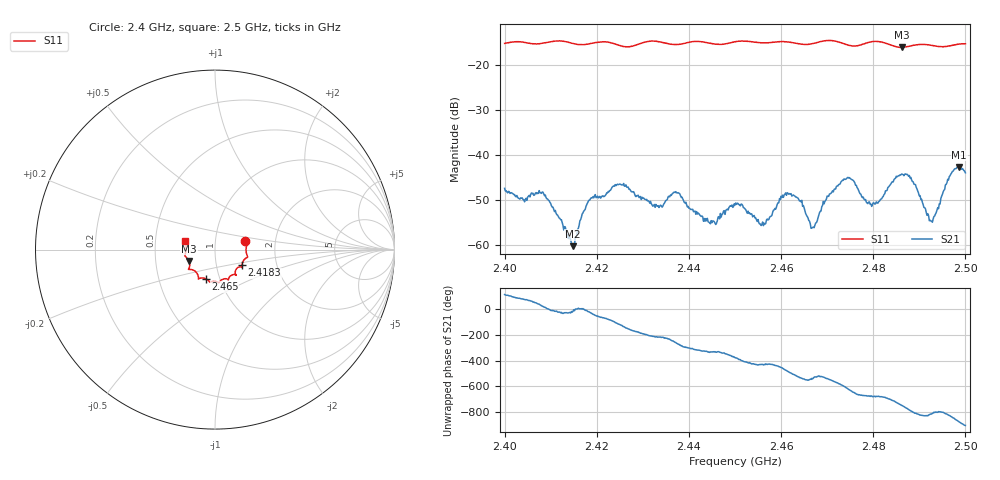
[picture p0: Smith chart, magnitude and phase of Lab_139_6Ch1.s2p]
# Hz S RI R 50
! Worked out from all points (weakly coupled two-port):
!   601 points, 2.4 GHz to 2.5 GHz, reference 50 ohm
!   highest |S21| = -42.63 dB at 2.4987 GHz (marker M1); lowest = -60.3 dB at 2.4148 GHz (marker M2)
!   lowest |S11| = -16.0 dB at 2.4862 GHz (marker M3), VSWR 1.38, Z = 37.1 - j4.82 ohm
!   |S11| at or under -10 dB: start of sweep to end of sweep
!   S12 and S22 are empty: the file has one direction only
!   S11 on the Smith chart (normalised r, x): 2.4 GHz: 1.40, +0.13; 2.4183 GHz: 1.33, -0.24; 2.465 GHz: 0.86, -0.29; 2.5 GHz: 0.71, +0.07
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2.4e9  0.1692 0.0456  -0.00165 0.00393  0 0  0 0
2.408333e9  0.175 -0.0197  0.00363 0.00134  0 0  0 0
2.414833e9  0.1666 -0.0516  0.000926 -0.000289  0 0  0 0
2.416667e9  0.1548 -0.0684  0.00203 0.000122  0 0  0 0
2.418333e9  0.1498 -0.0869  0.00295 -0.00112  0 0  0 0
2.425333e9  0.1313 -0.0975  -0.00277 -0.00376  0 0  0 0
2.433333e9  0.1168 -0.1413  -0.00218 0.00166  0 0  0 0
2.437333e9  0.087 -0.1462  -0.000284 0.0038  0 0  0 0
2.4455e9  0.0577 -0.1622  0.00162 0.00082  0 0  0 0
2.45e9  0.0253 -0.1808  0.00266 -0.000811  0 0  0 0
2.455833e9  0.000379 -0.1775  0.00059 -0.00159  0 0  0 0
2.461167e9  -0.0304 -0.1796  -0.00163 -0.00318  0 0  0 0
2.465e9  -0.0526 -0.1622  -0.0026 0.00015  0 0  0 0
2.466667e9  -0.0713 -0.1576  -0.00154 -5.31e-05  0 0  0 0
2.474e9  -0.0954 -0.1419  -0.00205 0.00497  0 0  0 0
2.479333e9  -0.1441 -0.1103  0.00212 0.00189  0 0  0 0
2.483333e9  -0.142 -0.0961  0.00409 0.0017  0 0  0 0
2.486167e9  -0.1448 -0.0633  0.00546 -0.00286  0 0  0 0
2.488667e9  -0.1611 -0.0424  0.000766 -0.00499  0 0  0 0
2.492667e9  -0.165 -0.0223  -0.000164 -0.00184  0 0  0 0
2.498667e9  -0.1674 0.0401  -0.00675 -0.00301  0 0  0 0
2.5e9  -0.1668 0.0471  -0.00635 0.000374  0 0  0 0
